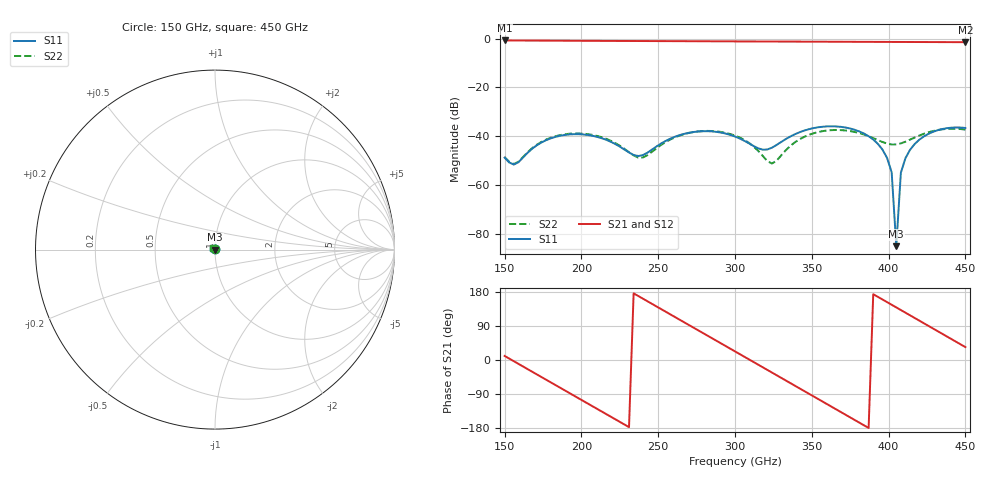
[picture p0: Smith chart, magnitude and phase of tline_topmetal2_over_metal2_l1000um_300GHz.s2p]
#  GHZ S DB R 50
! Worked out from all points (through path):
!   101 points, 150 GHz to 450 GHz, reference 50 ohm
!   highest |S21| = -0.71 dB at 150 GHz (marker M1); lowest = -1.4 dB at 450 GHz (marker M2)
!   group delay of S21, straight-line fit = 6.45 ps
!   lowest |S11| = -85.2 dB at 405 GHz (marker M3), VSWR 1.00, Z = 50 + j0.00287 ohm
!   |S11| at or under -10 dB: start of sweep to end of sweep
!   |S22| runs from -51.4 to -36.9 dB; largest |S21 - S12| = 1.6e-13
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150  -48.86 115.2  -0.71 10.8  -0.71 10.8  -48.57 116.0
156  -51.69 53.1  -0.72 -3.2  -0.72 -3.2  -51.45 54.3
180  -40.92 -89.5  -0.79 -58.9  -0.79 -58.9  -40.67 -88.7
201  -39.31 -158.4  -0.85 -107.6  -0.85 -107.6  -38.98 -157.1
228  -45.52 95.9  -0.92 -170.2  -0.92 -170.2  -45.22 101.9
240  -47.81 3.1  -0.95 162.0  -0.95 162.0  -48.78 8.5
252  -43.00 -70.7  -0.97 134.1  -0.97 134.1  -43.58 -71.7
276  -38.10 -156.3  -1.03 78.4  -1.03 78.4  -38.07 -156.7
300  -40.17 122.8  -1.09 22.7  -1.09 22.7  -39.78 128.5
312  -44.02 65.1  -1.12 -5.1  -1.12 -5.1  -44.20 83.6
324  -44.77 -26.5  -1.15 -33.0  -1.15 -33.0  -51.25 -14.2
339  -39.23 -103.3  -1.18 -67.8  -1.18 -67.8  -42.55 -124.3
351  -36.73 -143.0  -1.20 -95.7  -1.20 -95.7  -38.86 -166.3
366  -36.03 174.2  -1.24 -130.6  -1.24 -130.6  -37.48 146.3
384  -38.96 126.7  -1.28 -172.4  -1.28 -172.4  -39.36 84.0
396  -45.52 96.4  -1.30 159.7  -1.30 159.7  -42.41 26.5
402  -54.87 82.4  -1.32 145.8  -1.32 145.8  -43.45 -12.6
405  -85.20 148.5  -1.32 138.8  -1.32 138.8  -43.42 -33.7
408  -55.00 -116.0  -1.33 131.8  -1.33 131.8  -43.00 -54.1
414  -45.58 -129.8  -1.34 117.8  -1.34 117.8  -41.44 -89.6
432  -37.56 -173.6  -1.38 75.9  -1.38 75.9  -37.49 -163.2
450  -36.65 143.4  -1.42 34.0  -1.42 34.0  -37.34 138.7
